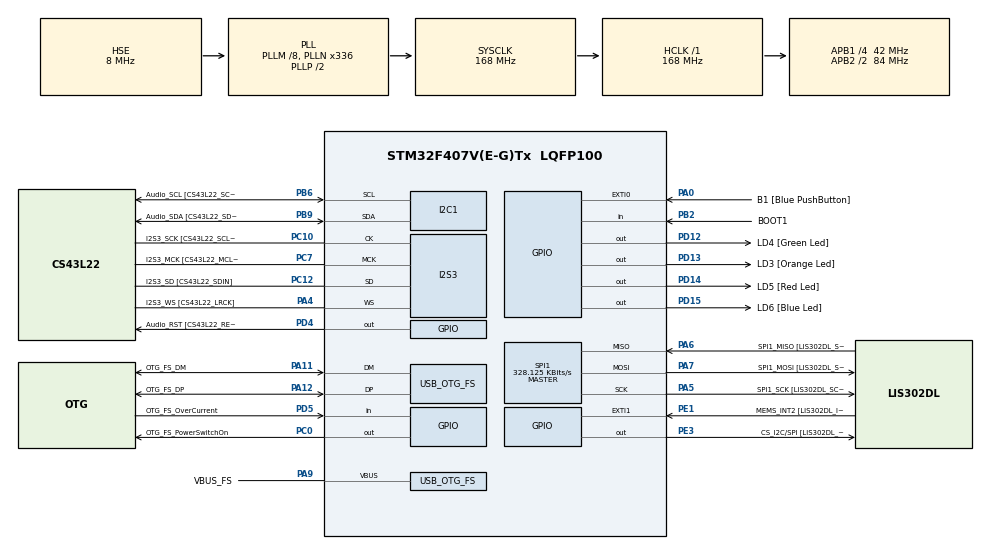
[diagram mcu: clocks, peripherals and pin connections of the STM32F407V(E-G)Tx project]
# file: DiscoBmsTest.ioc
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I2S3.AudioFreq-Half_Duplex_Master=I2S_AUDIOFREQ_96K
I2S3.ErrorAudioFreq=-2.34 %
I2S3.ErrorAudioFreq-Half_Duplex_Master=0.8 %
I2S3.FullDuplexMode=I2S_FULLDUPLEXMODE_DISABLE
I2S3.Instance=SPI$Index
I2S3.RealAudioFreq=93.75 KHz
I2S3.RealAudioFreq-Half_Duplex_Master=96.774 KHz
I2S3.VirtualMode=I2S_MODE_MASTER
Mcu.Family=STM32F4
Mcu.Name=STM32F407V(E-G)Tx
Mcu.Package=LQFP100
NVIC.OTG_FS_IRQn=true\:0\:0\:false\:false\:true\:true\:true\:true
NVIC.PriorityGroup=NVIC_PRIORITYGROUP_0
PA0-WKUP.GPIO_Label=B1 [Blue PushButton]
PA0-WKUP.GPIO_ModeDefaultEXTI=GPIO_MODE_EVT_RISING
PA0-WKUP.GPIO_PuPd=GPIO_NOPULL
PA0-WKUP.Signal=GPXTI0
PA10.GPIO_Label=OTG_FS_ID
PA10.GPIO_Mode=GPIO_MODE_AF_PP
PA10.GPIO_PuPd=GPIO_NOPULL
PA10.GPIO_Speed=GPIO_SPEED_FREQ_LOW
PA10.Signal=USB_OTG_FS_ID
PA11.GPIO_Label=OTG_FS_DM
PA11.GPIO_Mode=GPIO_MODE_AF_PP
PA11.GPIO_PuPd=GPIO_NOPULL
PA11.GPIO_Speed=GPIO_SPEED_FREQ_LOW
PA11.Mode=Host_Only
PA11.Signal=USB_OTG_FS_DM
PA12.GPIO_Label=OTG_FS_DP
PA12.GPIO_Mode=GPIO_MODE_AF_PP
PA12.GPIO_PuPd=GPIO_NOPULL
PA12.GPIO_Speed=GPIO_SPEED_FREQ_LOW
PA12.Mode=Host_Only
PA12.Signal=USB_OTG_FS_DP
PA13.GPIO_Label=SWDIO
PA13.Mode=Serial_Wire
PA13.Signal=SYS_JTMS-SWDIO
PA14.GPIO_Label=SWCLK
PA14.Mode=Serial_Wire
PA14.Signal=SYS_JTCK-SWCLK
PA4.GPIO_Label=I2S3_WS [CS43L22_LRCK]
PA4.GPIO_Mode=GPIO_MODE_AF_PP
PA4.GPIO_PuPd=GPIO_NOPULL
PA4.GPIO_Speed=GPIO_SPEED_FREQ_LOW
PA4.Mode=Half_Duplex_Master
PA4.Signal=I2S3_WS
PA5.GPIO_Label=SPI1_SCK [LIS302DL_SCL/SPC]
PA5.GPIO_Mode=GPIO_MODE_AF_PP
PA5.GPIO_PuPd=GPIO_NOPULL
PA5.GPIO_Speed=GPIO_SPEED_FREQ_LOW
PA5.Mode=Full_Duplex_Master
PA5.Signal=SPI1_SCK
PA6.GPIO_Label=SPI1_MISO [LIS302DL_SDO]
PA6.GPIO_Mode=GPIO_MODE_AF_PP
PA6.GPIO_PuPd=GPIO_NOPULL
PA6.GPIO_Speed=GPIO_SPEED_FREQ_LOW
PA6.Mode=Full_Duplex_Master
PA6.Signal=SPI1_MISO
PA7.GPIO_Label=SPI1_MOSI [LIS302DL_SDA/SDI/SDO]
PA7.GPIO_Mode=GPIO_MODE_AF_PP
PA7.GPIO_PuPd=GPIO_NOPULL
PA7.GPIO_Speed=GPIO_SPEED_FREQ_LOW
PA7.Mode=Full_Duplex_Master
PA7.Signal=SPI1_MOSI
PA9.GPIO_Label=VBUS_FS
PA9.GPIO_Mode=GPIO_MODE_INPUT
PA9.GPIO_PuPd=GPIO_NOPULL
PA9.Mode=Activate_VBUS
PA9.Signal=USB_OTG_FS_VBUS
PB10.GPIO_Label=CLK_IN [MP45DT02_CLK]
PB10.GPIO_Mode=GPIO_MODE_AF_PP
PB10.GPIO_PuPd=GPIO_NOPULL
PB10.GPIO_Speed=GPIO_SPEED_FREQ_LOW
PB10.Signal=I2S2_CK
PB2.GPIO_Label=BOOT1
PB2.GPIO_Mode=GPIO_MODE_INPUT
PB2.GPIO_PuPd=GPIO_NOPULL
PB2.Signal=GPIO_Input
PB3.GPIO_Label=SWO
PB3.Signal=SYS_JTDO-SWO
PB6.GPIO_Label=Audio_SCL [CS43L22_SCL]
PB6.GPIO_Mode=GPIO_MODE_AF_OD
PB6.GPIO_Pu=GPIO_PULLUP
PB6.GPIO_PuPd=GPIO_NOPULL
PB6.GPIO_Speed=GPIO_SPEED_FREQ_LOW
PB6.Mode=I2C
PB6.Signal=I2C1_SCL
PB9.GPIO_Label=Audio_SDA [CS43L22_SDA]
PB9.GPIO_Mode=GPIO_MODE_AF_OD
PB9.GPIO_Pu=GPIO_PULLUP
PB9.GPIO_PuPd=GPIO_NOPULL
PB9.GPIO_Speed=GPIO_SPEED_FREQ_LOW
PB9.Mode=I2C
PB9.Signal=I2C1_SDA
PC0.GPIO_Label=OTG_FS_PowerSwitchOn
PC0.GPIO_PuPd=GPIO_NOPULL
PC0.GPIO_Speed=GPIO_SPEED_FREQ_LOW
PC0.PinState=GPIO_PIN_SET
PC0.Signal=GPIO_Output
PC10.GPIO_Label=I2S3_SCK [CS43L22_SCLK]
PC10.GPIO_Mode=GPIO_MODE_AF_PP
PC10.GPIO_PuPd=GPIO_NOPULL
PC10.GPIO_Speed=GPIO_SPEED_FREQ_LOW
PC10.Mode=Half_Duplex_Master
PC10.Signal=I2S3_CK
PC12.GPIO_Label=I2S3_SD [CS43L22_SDIN]
PC12.GPIO_Mode=GPIO_MODE_AF_PP
PC12.GPIO_PuPd=GPIO_NOPULL
PC12.GPIO_Speed=GPIO_SPEED_FREQ_LOW
PC12.Mode=Half_Duplex_Master
PC12.Signal=I2S3_SD
PC14-OSC32_IN.GPIO_Label=PC14-OSC32_IN
PC14-OSC32_IN.Mode=LSE-External-Oscillator
PC14-OSC32_IN.Signal=RCC_OSC32_IN
PC15-OSC32_OUT.GPIO_Label=PC15-OSC32_OUT
PC15-OSC32_OUT.Mode=LSE-External-Oscillator
PC15-OSC32_OUT.Signal=RCC_OSC32_OUT
PC3.GPIO_Label=PDM_OUT [MP45DT02_DOUT]
PC3.GPIO_Mode=GPIO_MODE_AF_PP
PC3.GPIO_PuPd=GPIO_NOPULL
PC3.GPIO_Speed=GPIO_SPEED_FREQ_LOW
PC3.Signal=I2S2_SD
PC7.GPIO_Label=I2S3_MCK [CS43L22_MCLK]
PC7.GPIO_Mode=GPIO_MODE_AF_PP
PC7.GPIO_PuPd=GPIO_NOPULL
PC7.GPIO_Speed=GPIO_SPEED_FREQ_LOW
PC7.Mode=Master_Clock_Activated
PC7.Signal=I2S3_MCK
PD12.GPIO_Label=LD4 [Green Led]
PD12.GPIO_PuPd=GPIO_NOPULL
PD12.GPIO_Speed=GPIO_SPEED_FREQ_LOW
PD12.Signal=GPIO_Output
PD13.GPIO_Label=LD3 [Orange Led]
PD13.GPIO_PuPd=GPIO_NOPULL
PD13.GPIO_Speed=GPIO_SPEED_FREQ_LOW
PD13.Signal=GPIO_Output
PD14.GPIO_Label=LD5 [Red Led]
PD14.GPIO_PuPd=GPIO_NOPULL
PD14.GPIO_Speed=GPIO_SPEED_FREQ_LOW
PD14.Signal=GPIO_Output
PD15.GPIO_Label=LD6 [Blue Led]
PD15.GPIO_PuPd=GPIO_NOPULL
PD15.GPIO_Speed=GPIO_SPEED_FREQ_LOW
PD15.Signal=GPIO_Output
PD4.GPIO_Label=Audio_RST [CS43L22_RESET]
PD4.GPIO_PuPd=GPIO_NOPULL
PD4.GPIO_Speed=GPIO_SPEED_FREQ_LOW
PD4.Signal=GPIO_Output
PD5.GPIO_Label=OTG_FS_OverCurrent
PD5.GPIO_Mode=GPIO_MODE_INPUT
PD5.GPIO_PuPd=GPIO_NOPULL
PD5.Signal=GPIO_Input
PE1.GPIO_Label=MEMS_INT2 [LIS302DL_INT2]
PE1.GPIO_ModeDefaultEXTI=GPIO_MODE_EVT_RISING
PE1.GPIO_PuPd=GPIO_NOPULL
PE1.Signal=GPXTI1
PE3.GPIO_Label=CS_I2C/SPI [LIS302DL_CS_I2C/SPI]
PE3.GPIO_PuPd=GPIO_NOPULL
PE3.GPIO_Speed=GPIO_SPEED_FREQ_LOW
PE3.Signal=GPIO_Output
PH0-OSC_IN.GPIO_Label=PH0-OSC_IN
PH0-OSC_IN.Mode=HSE-External-Oscillator
PH0-OSC_IN.Signal=RCC_OSC_IN
PH1-OSC_OUT.GPIO_Label=PH1-OSC_OUT
PH1-OSC_OUT.Mode=HSE-External-Oscillator
PH1-OSC_OUT.Signal=RCC_OSC_OUT
ProjectManager.HeapSize=0x200
ProjectManager.StackSize=0x400
ProjectManager.TargetToolchain=STM32CubeIDE
RCC.48MHZClocksFreq_Value=48000000
RCC.AHBFreq_Value=168000000
RCC.APB1CLKDivider=RCC_HCLK_DIV4
RCC.APB1Freq_Value=42000000
RCC.APB1TimFreq_Value=84000000
RCC.APB2CLKDivider=RCC_HCLK_DIV2
RCC.APB2Freq_Value=84000000
RCC.APB2TimFreq_Value=168000000
RCC.CortexFreq_Value=168000000
RCC.HCLKFreq_Value=168000000
RCC.HSE_VALUE=8000000
RCC.HSI_VALUE=16000000
RCC.PLLM=8
RCC.PLLN=336
RCC.PLLQ=7
RCC.SYSCLKFreq_VALUE=168000000
RCC.SYSCLKSource=RCC_SYSCLKSOURCE_PLLCLK
RCC.VCOOutputFreq_Value=336000000
SPI1.BaudRatePrescaler=SPI_BAUDRATEPRESCALER_256
SPI1.BaudRatePrescaler-Full_Duplex_Master=SPI_BAUDRATEPRESCALER_2
SPI1.CalculateBaudRate=328.125 KBits/s
SPI1.CalculateBaudRate-Full_Duplex_Master=42.0 MBits/s
SPI1.Direction=SPI_DIRECTION_2LINES
SPI1.Mode=SPI_MODE_MASTER
SPI1.Mode-Full_Duplex_Master=SPI_MODE_MASTER
SPI1.VirtualType=VM_MASTER
USB_HOST.BSP.number=1
USB_HOST.USBH_HandleTypeDef-CDC_FS=hUsbHostFS
USB_HOST.VirtualModeFS=Cdc
USB_HOST0.BSP.STBoard=false
USB_HOST0.BSP.api=Unknown
USB_HOST0.BSP.instance=PC0
USB_HOST0.BSP.ip=GPIO
USB_HOST0.BSP.mode=Output
USB_HOST0.BSP.name=Drive_VBUS_FS
USB_HOST0.BSP.solution=PC0
USB_OTG_FS.VirtualMode=Host_Only
USB_OTG_FS.phy_itface=HCD_PHY_EMBEDDED
VP_USB_HOST_VS_USB_HOST_CDC_FS.Mode=CDC_FS
board=STM32F407G-DISC1

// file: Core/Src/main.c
/* USER CODE BEGIN Header */
/**
  ******************************************************************************
  * @file           : main.c
  * @brief          : Main program body
  ******************************************************************************
  * @attention
  *
  * Copyright (c) 2026 STMicroelectronics.
  * All rights reserved.
  *
  * This software is licensed under terms that can be found in the LICENSE file
  * in the root directory of this software component.
  * If no LICENSE file comes with this software, it is provided AS-IS.
  *
  ******************************************************************************
  */
/* USER CODE END Header */
#include "main.h"
#include "usb_host.h"

/* USER CODE BEGIN Includes */
#include <stdint.h>
#include "commands.h"
/* USER CODE END Includes */

/* USER CODE BEGIN PTD */
#define IC_COUNT (2)

#define CMD_LEN (2)
#define DATA_LEN (6)
#define DATAPKT_LEN (6 + 2) // Includes PEC

#define WAKEUP_DELAY (1)

#define CS_PIN (CS_I2C_SPI_Pin)
#define CS_PORT (CS_I2C_SPI_GPIO_Port)
/* USER CODE END PTD */

I2C_HandleTypeDef hi2c1;

I2S_HandleTypeDef hi2s3;

SPI_HandleTypeDef hspi1;

void SystemClock_Config(void);
static void MX_GPIO_Init(void);
static void MX_I2C1_Init(void);
static void MX_I2S3_Init(void);
static void MX_SPI1_Init(void);
void MX_USB_HOST_Process(void);

/* USER CODE BEGIN PFP */
static uint8_t RX_DATA[IC_COUNT][DATAPKT_LEN] = {0};
static uint16_t RX_PEC[IC_COUNT] = {0};
static uint8_t RX_CC[IC_COUNT] = {0};
/* USER CODE END PFP */

/* USER CODE BEGIN 0 */

const uint16_t Crc15Table[256] =
{
    0x0000,0xc599, 0xceab, 0xb32, 0xd8cf, 0x1d56, 0x1664, 0xd3fd, 0xf407, 0x319e, 0x3aac,
    0xff35, 0x2cc8, 0xe951, 0xe263, 0x27fa, 0xad97, 0x680e, 0x633c, 0xa6a5, 0x7558, 0xb0c1,
    0xbbf3, 0x7e6a, 0x5990, 0x9c09, 0x973b, 0x52a2, 0x815f, 0x44c6, 0x4ff4, 0x8a6d, 0x5b2e,
    0x9eb7, 0x9585, 0x501c, 0x83e1, 0x4678, 0x4d4a, 0x88d3, 0xaf29, 0x6ab0, 0x6182, 0xa41b,
    0x77e6, 0xb27f, 0xb94d, 0x7cd4, 0xf6b9, 0x3320, 0x3812, 0xfd8b, 0x2e76, 0xebef, 0xe0dd,
    0x2544, 0x2be, 0xc727, 0xcc15, 0x98c, 0xda71, 0x1fe8, 0x14da, 0xd143, 0xf3c5, 0x365c,
    0x3d6e, 0xf8f7,0x2b0a, 0xee93, 0xe5a1, 0x2038, 0x7c2, 0xc25b, 0xc969, 0xcf0, 0xdf0d,
    0x1a94, 0x11a6, 0xd43f, 0x5e52, 0x9bcb, 0x90f9, 0x5560, 0x869d, 0x4304, 0x4836, 0x8daf,
    0xaa55, 0x6fcc, 0x64fe, 0xa167, 0x729a, 0xb703, 0xbc31, 0x79a8, 0xa8eb, 0x6d72, 0x6640,
    0xa3d9, 0x7024, 0xb5bd, 0xbe8f, 0x7b16, 0x5cec, 0x9975, 0x9247, 0x57de, 0x8423, 0x41ba,
    0x4a88, 0x8f11, 0x57c, 0xc0e5, 0xcbd7, 0xe4e, 0xddb3, 0x182a, 0x1318, 0xd681, 0xf17b,
    0x34e2, 0x3fd0, 0xfa49, 0x29b4, 0xec2d, 0xe71f, 0x2286, 0xa213, 0x678a, 0x6cb8, 0xa921,
    0x7adc, 0xbf45, 0xb477, 0x71ee, 0x5614, 0x938d, 0x98bf, 0x5d26, 0x8edb, 0x4b42, 0x4070,
    0x85e9, 0xf84, 0xca1d, 0xc12f, 0x4b6, 0xd74b, 0x12d2, 0x19e0, 0xdc79, 0xfb83, 0x3e1a, 0x3528,
    0xf0b1, 0x234c, 0xe6d5, 0xede7, 0x287e, 0xf93d, 0x3ca4, 0x3796, 0xf20f, 0x21f2, 0xe46b, 0xef59,
    0x2ac0, 0xd3a, 0xc8a3, 0xc391, 0x608, 0xd5f5, 0x106c, 0x1b5e, 0xdec7, 0x54aa, 0x9133, 0x9a01,
    0x5f98, 0x8c65, 0x49fc, 0x42ce, 0x8757, 0xa0ad, 0x6534, 0x6e06, 0xab9f, 0x7862, 0xbdfb, 0xb6c9,
    0x7350, 0x51d6, 0x944f, 0x9f7d, 0x5ae4, 0x8919, 0x4c80, 0x47b2, 0x822b, 0xa5d1, 0x6048, 0x6b7a,
    0xaee3, 0x7d1e, 0xb887, 0xb3b5, 0x762c, 0xfc41, 0x39d8, 0x32ea, 0xf773, 0x248e, 0xe117, 0xea25,
    0x2fbc, 0x846, 0xcddf, 0xc6ed, 0x374, 0xd089, 0x1510, 0x1e22, 0xdbbb, 0xaf8, 0xcf61, 0xc453,
    0x1ca, 0xd237, 0x17ae, 0x1c9c, 0xd905, 0xfeff, 0x3b66, 0x3054, 0xf5cd, 0x2630, 0xe3a9, 0xe89b,
    0x2d02, 0xa76f, 0x62f6, 0x69c4, 0xac5d, 0x7fa0, 0xba39, 0xb10b, 0x7492, 0x5368, 0x96f1, 0x9dc3,
    0x585a, 0x8ba7, 0x4e3e, 0x450c, 0x8095
};

/* Pre-computed CRC10 Table */
static const uint16_t crc10Table[256] =
{
    0x000, 0x08f, 0x11e, 0x191, 0x23c, 0x2b3, 0x322, 0x3ad, 0x0f7, 0x078, 0x1e9, 0x166, 0x2cb, 0x244, 0x3d5, 0x35a,
    0x1ee, 0x161, 0x0f0, 0x07f, 0x3d2, 0x35d, 0x2cc, 0x243, 0x119, 0x196, 0x007, 0x088, 0x325, 0x3aa, 0x23b, 0x2b4,
    0x3dc, 0x353, 0x2c2, 0x24d, 0x1e0, 0x16f, 0x0fe, 0x071, 0x32b, 0x3a4, 0x235, 0x2ba, 0x117, 0x198, 0x009, 0x086,
    0x232, 0x2bd, 0x32c, 0x3a3, 0x00e, 0x081, 0x110, 0x19f, 0x2c5, 0x24a, 0x3db, 0x354, 0x0f9, 0x076, 0x1e7, 0x168,
    0x337, 0x3b8, 0x229, 0x2a6, 0x10b, 0x184, 0x015, 0x09a, 0x3c0, 0x34f, 0x2de, 0x251, 0x1fc, 0x173, 0x0e2, 0x06d,
    0x2d9, 0x256, 0x3c7, 0x348, 0x0e5, 0x06a, 0x1fb, 0x174, 0x22e, 0x2a1, 0x330, 0x3bf, 0x012, 0x09d, 0x10c, 0x183,
    0x0eb, 0x064, 0x1f5, 0x17a, 0x2d7, 0x258, 0x3c9, 0x346, 0x01c, 0x093, 0x102, 0x18d, 0x220, 0x2af, 0x33e, 0x3b1,
    0x105, 0x18a, 0x01b, 0x094, 0x339, 0x3b6, 0x227, 0x2a8, 0x1f2, 0x17d, 0x0ec, 0x063, 0x3ce, 0x341, 0x2d0, 0x25f,
    0x2e1, 0x26e, 0x3ff, 0x370, 0x0dd, 0x052, 0x1c3, 0x14c, 0x216, 0x299, 0x308, 0x387, 0x02a, 0x0a5, 0x134, 0x1bb,
    0x30f, 0x380, 0x211, 0x29e, 0x133, 0x1bc, 0x02d, 0x0a2, 0x3f8, 0x377, 0x2e6, 0x269, 0x1c4, 0x14b, 0x0da, 0x055,
    0x13d, 0x1b2, 0x023, 0x0ac, 0x301, 0x38e, 0x21f, 0x290, 0x1ca, 0x145, 0x0d4, 0x05b, 0x3f6, 0x379, 0x2e8, 0x267,
    0x0d3, 0x05c, 0x1cd, 0x142, 0x2ef, 0x260, 0x3f1, 0x37e, 0x024, 0x0ab, 0x13a, 0x1b5, 0x218, 0x297, 0x306, 0x389,
    0x1d6, 0x159, 0x0c8, 0x047, 0x3ea, 0x365, 0x2f4, 0x27b, 0x121, 0x1ae, 0x03f, 0x0b0, 0x31d, 0x392, 0x203, 0x28c,
    0x038, 0x0b7, 0x126, 0x1a9, 0x204, 0x28b, 0x31a, 0x395, 0x0cf, 0x040, 0x1d1, 0x15e, 0x2f3, 0x27c, 0x3ed, 0x362,
    0x20a, 0x285, 0x314, 0x39b, 0x036, 0x0b9, 0x128, 0x1a7, 0x2fd, 0x272, 0x3e3, 0x36c, 0x0c1, 0x04e, 0x1df, 0x150,
    0x3e4, 0x36b, 0x2fa, 0x275, 0x1d8, 0x157, 0x0c6, 0x049, 0x313, 0x39c, 0x20d, 0x282, 0x12f, 0x1a0, 0x031, 0x0be
};

void bms_csLow(void)
{
    HAL_GPIO_WritePin(CS_PORT, CS_PIN, GPIO_PIN_RESET);
}

void bms_csHigh(void)
{
    HAL_GPIO_WritePin(CS_PORT, CS_PIN, GPIO_PIN_SET);
}

uint16_t static bms_calcPec15(uint8_t *data, uint8_t len)
{
    uint16_t remainder, addr;
    remainder = 16; /* initialize the PEC */
    for (uint8_t i = 0; i<len; i++) /* loops for each byte in data array */
    {
        addr = (((remainder>>7)^data[i])&0xff);/* calculate PEC table address */
        remainder = ((remainder<<8)^Crc15Table[addr]);
    }
    return(remainder*2);/* The CRC15 has a 0 in the LSB so the remainder must be multiplied by 2 */
}

uint16_t static bms_calcPec10(uint8_t *pDataBuf, int nLength, uint8_t *commandCounter)
{
    uint16_t nRemainder = 16u; /* PEC_SEED */
    /* x10 + x7 + x3 + x2 + x + 1 <- the CRC10 polynomial 100 1000 1111 */
    uint16_t nPolynomial = 0x8Fu;
    uint8_t nByteIndex, nBitIndex;
    uint16_t nTableAddr;

    for (nByteIndex = 0u; nByteIndex < nLength; ++nByteIndex)
    {
        /* calculate PEC table address */
        nTableAddr = (uint16_t)(((uint16_t)(nRemainder >> 2) ^ (uint8_t)pDataBuf[nByteIndex]) & (uint8_t)0xff);
        nRemainder = (uint16_t)(((uint16_t)(nRemainder << 8)) ^ crc10Table[nTableAddr]);
    }
    /* If array is from received buffer add command counter to crc calculation */
    if (commandCounter != NULL)
    {
        nRemainder ^= (uint16_t)(*commandCounter << 4u);
    }
    /* Perform modulo-2 division, a bit at a time */
    for (nBitIndex = 6u; nBitIndex > 0u; --nBitIndex)
    {
        /* Try to divide the current data bit */
        if ((nRemainder & 0x200u) > 0u)
        {
            nRemainder = (uint16_t)((nRemainder << 1u));
            nRemainder = (uint16_t)(nRemainder ^ nPolynomial);
        }
        else
        {
            nRemainder = (uint16_t)((nRemainder << 1u));
        }
    }
    return ((uint16_t)(nRemainder & 0x3FFu));
}

void bms_spiTransmitCmd(SPI_HandleTypeDef *hspi, uint8_t cmd[CMD_LEN])
{
  uint8_t txBuff_cmd[CMD_LEN + sizeof(uint16_t)];

  // Copy cmd bytes to buffer
  txBuff_cmd[0] = cmd[0];
  txBuff_cmd[1] = cmd[1];

  // Add PEC bytes
  uint16_t cmd_pec = bms_calcPec15(cmd, CMD_LEN);
  txBuff_cmd[2] = (uint8_t)(cmd_pec >> 8);
  txBuff_cmd[3] = (uint8_t)(cmd_pec);

  // Transmit the buffer to SPI
  HAL_SPI_Transmit(hspi, txBuff_cmd, CMD_LEN + sizeof(uint16_t), HAL_MAX_DELAY);
}

void static bms_spiReceiveData(SPI_HandleTypeDef *hspi, uint8_t rxData[IC_COUNT][DATA_LEN], uint16_t rxPec[IC_COUNT], uint8_t rxCc[IC_COUNT])
{
  // uint8_t rawRxData[IC_COUNT][DATAPKT_LEN];

  HAL_SPI_Receive(hspi, (uint8_t *)rxData, DATAPKT_LEN * IC_COUNT, HAL_MAX_DELAY);

  // for (int ic = 0; ic < IC_COUNT; ic++)     /* executes for each ic in the daisy chain and packs the data */
  // {
  //   // Store recieved data bytes to rxData
  //   memcpy(rxData[ic], rawRxData[ic], DATA_LEN);

  //   // Get command counter value and store to the array
  //   rxCc[ic] = rawRxData[ic][DATA_LEN] >> 2;                // Get the 7th byte and shift right by 2 bits

  //   // Get received pec value from ic
  //   // Mask the first 3 bits from 1st byte and combine with 2nd byte
  //   rxPec[ic] = (uint16_t)(((rawRxData[ic][DATA_LEN] & 0x03) << 8) | rawRxData[ic][DATA_LEN + 1]);
  // }
}

void bms_receiveData(SPI_HandleTypeDef *hspi, uint8_t cmd[CMD_LEN], uint8_t rxBuffer[IC_COUNT][DATA_LEN], uint16_t rxPec[IC_COUNT], uint8_t rxCc[IC_COUNT])
{
  bms_csLow();
  bms_spiTransmitCmd(hspi, cmd);
  bms_spiReceiveData(hspi, rxBuffer, rxPec, rxCc);
  bms_csHigh();
}

void bms_wakeupChain(void)
{
    for (uint8_t ic = 0; ic < IC_COUNT; ic++)
    {
        bms_csLow();
        HAL_Delay(WAKEUP_DELAY);
        bms_csHigh();
        HAL_Delay(WAKEUP_DELAY);
    }
}

/* USER CODE END 0 */

int main(void)
{

  /* MCU Configuration--------------------------------------------------------*/

  /* Reset of all peripherals, Initializes the Flash interface and the Systick. */
  HAL_Init();

  /* Configure the system clock */
  SystemClock_Config();

  /* Initialize all configured peripherals */
  MX_GPIO_Init();
  MX_I2C1_Init();
  MX_I2S3_Init();
  MX_SPI1_Init();
  MX_USB_HOST_Init();

  /* Infinite loop */
  while (1)
  {
    MX_USB_HOST_Process();

    /* USER CODE BEGIN 3 */

    bms_wakeupChain();
    bms_receiveData(&hspi1, RDCFGA, RX_DATA, RX_PEC, RX_CC);

    HAL_GPIO_TogglePin(LD3_GPIO_Port, LD3_Pin);
    HAL_Delay(200);
    // Toggle LD3 every 200 ms
  }
  /* USER CODE END 3 */
}

void SystemClock_Config(void)
{
  RCC_OscInitTypeDef RCC_OscInitStruct = {0};
  RCC_ClkInitTypeDef RCC_ClkInitStruct = {0};

  /** Configure the main internal regulator output voltage
  */
  __HAL_RCC_PWR_CLK_ENABLE();
  __HAL_PWR_VOLTAGESCALING_CONFIG(PWR_REGULATOR_VOLTAGE_SCALE1);

  /** Initializes the RCC Oscillators according to the specified parameters
  * in the RCC_OscInitTypeDef structure.
  */
  RCC_OscInitStruct.OscillatorType = RCC_OSCILLATORTYPE_HSE;
  RCC_OscInitStruct.HSEState = RCC_HSE_ON;
  RCC_OscInitStruct.PLL.PLLState = RCC_PLL_ON;
  RCC_OscInitStruct.PLL.PLLSource = RCC_PLLSOURCE_HSE;
  RCC_OscInitStruct.PLL.PLLM = 8;
  RCC_OscInitStruct.PLL.PLLN = 336;
  RCC_OscInitStruct.PLL.PLLP = RCC_PLLP_DIV2;
  RCC_OscInitStruct.PLL.PLLQ = 7;
  if (HAL_RCC_OscConfig(&RCC_OscInitStruct) != HAL_OK)
  {
    Error_Handler();
  }

  /** Initializes the CPU, AHB and APB buses clocks
  */
  RCC_ClkInitStruct.ClockType = RCC_CLOCKTYPE_HCLK|RCC_CLOCKTYPE_SYSCLK
                              |RCC_CLOCKTYPE_PCLK1|RCC_CLOCKTYPE_PCLK2;
  RCC_ClkInitStruct.SYSCLKSource = RCC_SYSCLKSOURCE_PLLCLK;
  RCC_ClkInitStruct.AHBCLKDivider = RCC_SYSCLK_DIV1;
  RCC_ClkInitStruct.APB1CLKDivider = RCC_HCLK_DIV4;
  RCC_ClkInitStruct.APB2CLKDivider = RCC_HCLK_DIV2;

  if (HAL_RCC_ClockConfig(&RCC_ClkInitStruct, FLASH_LATENCY_5) != HAL_OK)
  {
    Error_Handler();
  }
}

static void MX_I2C1_Init(void)
{

  hi2c1.Instance = I2C1;
  hi2c1.Init.ClockSpeed = 100000;
  hi2c1.Init.DutyCycle = I2C_DUTYCYCLE_2;
  hi2c1.Init.OwnAddress1 = 0;
  hi2c1.Init.AddressingMode = I2C_ADDRESSINGMODE_7BIT;
  hi2c1.Init.DualAddressMode = I2C_DUALADDRESS_DISABLE;
  hi2c1.Init.OwnAddress2 = 0;
  hi2c1.Init.GeneralCallMode = I2C_GENERALCALL_DISABLE;
  hi2c1.Init.NoStretchMode = I2C_NOSTRETCH_DISABLE;
  if (HAL_I2C_Init(&hi2c1) != HAL_OK)
  {
    Error_Handler();
  }

}

static void MX_I2S3_Init(void)
{

  hi2s3.Instance = SPI3;
  hi2s3.Init.Mode = I2S_MODE_MASTER_TX;
  hi2s3.Init.Standard = I2S_STANDARD_PHILIPS;
  hi2s3.Init.DataFormat = I2S_DATAFORMAT_16B;
  hi2s3.Init.MCLKOutput = I2S_MCLKOUTPUT_ENABLE;
  hi2s3.Init.AudioFreq = I2S_AUDIOFREQ_96K;
  hi2s3.Init.CPOL = I2S_CPOL_LOW;
  hi2s3.Init.ClockSource = I2S_CLOCK_PLL;
  hi2s3.Init.FullDuplexMode = I2S_FULLDUPLEXMODE_DISABLE;
  if (HAL_I2S_Init(&hi2s3) != HAL_OK)
  {
    Error_Handler();
  }

}

static void MX_SPI1_Init(void)
{

  /* SPI1 parameter configuration*/
  hspi1.Instance = SPI1;
  hspi1.Init.Mode = SPI_MODE_MASTER;
  hspi1.Init.Direction = SPI_DIRECTION_2LINES;
  hspi1.Init.DataSize = SPI_DATASIZE_8BIT;
  hspi1.Init.CLKPolarity = SPI_POLARITY_LOW;
  hspi1.Init.CLKPhase = SPI_PHASE_1EDGE;
  hspi1.Init.NSS = SPI_NSS_SOFT;
  hspi1.Init.BaudRatePrescaler = SPI_BAUDRATEPRESCALER_256;
  hspi1.Init.FirstBit = SPI_FIRSTBIT_MSB;
  hspi1.Init.TIMode = SPI_TIMODE_DISABLE;
  hspi1.Init.CRCCalculation = SPI_CRCCALCULATION_DISABLE;
  hspi1.Init.CRCPolynomial = 10;
  if (HAL_SPI_Init(&hspi1) != HAL_OK)
  {
    Error_Handler();
  }

}

static void MX_GPIO_Init(void)
{
  GPIO_InitTypeDef GPIO_InitStruct = {0};

  /* GPIO Ports Clock Enable */
  __HAL_RCC_GPIOE_CLK_ENABLE();
  __HAL_RCC_GPIOC_CLK_ENABLE();
  __HAL_RCC_GPIOH_CLK_ENABLE();
  __HAL_RCC_GPIOA_CLK_ENABLE();
  __HAL_RCC_GPIOB_CLK_ENABLE();
  __HAL_RCC_GPIOD_CLK_ENABLE();

  /*Configure GPIO pin Output Level */
  HAL_GPIO_WritePin(CS_I2C_SPI_GPIO_Port, CS_I2C_SPI_Pin, GPIO_PIN_RESET);

  /*Configure GPIO pin Output Level */
  HAL_GPIO_WritePin(OTG_FS_PowerSwitchOn_GPIO_Port, OTG_FS_PowerSwitchOn_Pin, GPIO_PIN_SET);

  /*Configure GPIO pin Output Level */
  HAL_GPIO_WritePin(GPIOD, LD4_Pin|LD3_Pin|LD5_Pin|LD6_Pin
                          |Audio_RST_Pin, GPIO_PIN_RESET);

  /*Configure GPIO pin : CS_I2C_SPI_Pin */
  GPIO_InitStruct.Pin = CS_I2C_SPI_Pin;
  GPIO_InitStruct.Mode = GPIO_MODE_OUTPUT_PP;
  GPIO_InitStruct.Pull = GPIO_NOPULL;
  GPIO_InitStruct.Speed = GPIO_SPEED_FREQ_LOW;
  HAL_GPIO_Init(CS_I2C_SPI_GPIO_Port, &GPIO_InitStruct);

  /*Configure GPIO pin : OTG_FS_PowerSwitchOn_Pin */
  GPIO_InitStruct.Pin = OTG_FS_PowerSwitchOn_Pin;
  GPIO_InitStruct.Mode = GPIO_MODE_OUTPUT_PP;
  GPIO_InitStruct.Pull = GPIO_NOPULL;
  GPIO_InitStruct.Speed = GPIO_SPEED_FREQ_LOW;
  HAL_GPIO_Init(OTG_FS_PowerSwitchOn_GPIO_Port, &GPIO_InitStruct);

  /*Configure GPIO pin : PDM_OUT_Pin */
  GPIO_InitStruct.Pin = PDM_OUT_Pin;
  GPIO_InitStruct.Mode = GPIO_MODE_AF_PP;
  GPIO_InitStruct.Pull = GPIO_NOPULL;
  GPIO_InitStruct.Speed = GPIO_SPEED_FREQ_LOW;
  GPIO_InitStruct.Alternate = GPIO_AF5_SPI2;
  HAL_GPIO_Init(PDM_OUT_GPIO_Port, &GPIO_InitStruct);

  /*Configure GPIO pin : B1_Pin */
  GPIO_InitStruct.Pin = B1_Pin;
  GPIO_InitStruct.Mode = GPIO_MODE_EVT_RISING;
  GPIO_InitStruct.Pull = GPIO_NOPULL;
  HAL_GPIO_Init(B1_GPIO_Port, &GPIO_InitStruct);

  /*Configure GPIO pin : BOOT1_Pin */
  GPIO_InitStruct.Pin = BOOT1_Pin;
  GPIO_InitStruct.Mode = GPIO_MODE_INPUT;
  GPIO_InitStruct.Pull = GPIO_NOPULL;
  HAL_GPIO_Init(BOOT1_GPIO_Port, &GPIO_InitStruct);

  /*Configure GPIO pin : CLK_IN_Pin */
  GPIO_InitStruct.Pin = CLK_IN_Pin;
  GPIO_InitStruct.Mode = GPIO_MODE_AF_PP;
  GPIO_InitStruct.Pull = GPIO_NOPULL;
  GPIO_InitStruct.Speed = GPIO_SPEED_FREQ_LOW;
  GPIO_InitStruct.Alternate = GPIO_AF5_SPI2;
  HAL_GPIO_Init(CLK_IN_GPIO_Port, &GPIO_InitStruct);

  /*Configure GPIO pins : LD4_Pin LD3_Pin LD5_Pin LD6_Pin
                           Audio_RST_Pin */
  GPIO_InitStruct.Pin = LD4_Pin|LD3_Pin|LD5_Pin|LD6_Pin
                          |Audio_RST_Pin;
  GPIO_InitStruct.Mode = GPIO_MODE_OUTPUT_PP;
  GPIO_InitStruct.Pull = GPIO_NOPULL;
  GPIO_InitStruct.Speed = GPIO_SPEED_FREQ_LOW;
  HAL_GPIO_Init(GPIOD, &GPIO_InitStruct);

  /*Configure GPIO pin : OTG_FS_OverCurrent_Pin */
  GPIO_InitStruct.Pin = OTG_FS_OverCurrent_Pin;
  GPIO_InitStruct.Mode = GPIO_MODE_INPUT;
  GPIO_InitStruct.Pull = GPIO_NOPULL;
  HAL_GPIO_Init(OTG_FS_OverCurrent_GPIO_Port, &GPIO_InitStruct);

  /*Configure GPIO pin : MEMS_INT2_Pin */
  GPIO_InitStruct.Pin = MEMS_INT2_Pin;
  GPIO_InitStruct.Mode = GPIO_MODE_EVT_RISING;
  GPIO_InitStruct.Pull = GPIO_NOPULL;
  HAL_GPIO_Init(MEMS_INT2_GPIO_Port, &GPIO_InitStruct);

}

void Error_Handler(void)
{
  __disable_irq();
  while (1)
  {
  }
}
